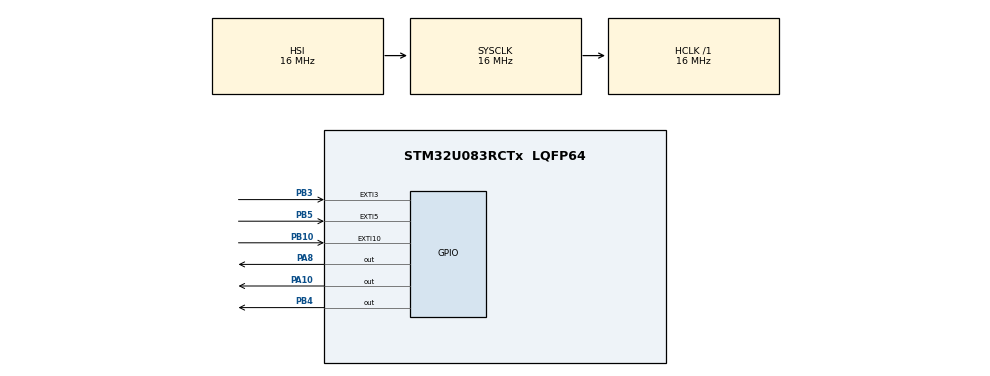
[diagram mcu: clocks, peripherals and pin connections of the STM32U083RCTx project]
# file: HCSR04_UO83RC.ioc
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Mcu.Family=STM32U0
Mcu.Name=STM32U083RCTx
Mcu.Package=LQFP64
NUCLEO-U083RC.BUTTON=1
NUCLEO-U083RC.Bsp_Common_DEMO=true
NUCLEO-U083RC.LD4=true
NUCLEO-U083RC.VCP=true
NVIC.EXTI2_3_IRQn=true\:1\:0\:true\:false\:true\:true\:true\:true
NVIC.EXTI4_15_IRQn=true\:1\:0\:true\:false\:true\:false\:true\:true
NVIC.PriorityGroup=NVIC_PRIORITYGROUP_2
PA10.Signal=GPIO_Output
PA13\ (SWDIO).GPIO_Label=SWDIO
PA13\ (SWDIO).Signal=DEBUG_JTMS-SWDIO
PA14\ (SWCLK).GPIO_Label=SWCLK
PA14\ (SWCLK).Signal=DEBUG_JTCK-SWCLK
PA2.Signal=USART2_TX
PA3.Signal=USART2_RX
PA8.Signal=GPIO_Output
PB10.GPIO_ModeDefaultEXTI=GPIO_MODE_IT_RISING_FALLING
PB10.Signal=GPXTI10
PB3.GPIO_ModeDefaultEXTI=GPIO_MODE_IT_RISING_FALLING
PB3.Signal=GPXTI3
PB4.Signal=GPIO_Output
PB5.GPIO_ModeDefaultEXTI=GPIO_MODE_IT_RISING_FALLING
PB5.Signal=GPXTI5
PC14-OSC32_IN.GPIO_Label=OSC32_IN
PC14-OSC32_IN.Signal=RCC_OSC32_IN
PC15-OSC32_OUT.GPIO_Label=OSC32_OUT
PC15-OSC32_OUT.Signal=RCC_OSC32_OUT
PF0-OSC_IN.GPIO_Label=OSC_IN
PF0-OSC_IN.Signal=RCC_OSC_IN
PF1-OSC_OUT.GPIO_Label=OSC_OUT
PF1-OSC_OUT.Signal=RCC_OSC_OUT
ProjectManager.HeapSize=0x200
ProjectManager.StackSize=0x400
ProjectManager.TargetToolchain=CMake
RCC.AHBFreq_Value=16000000
RCC.CortexFreq_Value=16000000
RCC.HCLKFreq_Value=16000000
RCC.HSE_VALUE=4000000
RCC.HSI48_VALUE=48000000
RCC.HSI_VALUE=16000000
RCC.LSE_VALUE=32768
RCC.MSI_VALUE=4000000
RCC.SYSCLKFreq_VALUE=16000000
RCC.VCOOutputFreq_Value=64000000
VP_NUCLEO-U083RC_VS_BSP_COMMON.Mode=COMMON
VP_PWR_VS_SECSignals.Mode=Security/Privilege
VP_TIM3_VS_ClockSourceINT.Mode=Internal
board=NUCLEO-U083RC

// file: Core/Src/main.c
/* USER CODE BEGIN Header */
/*******************************************************************************
 * @file       main.c
 * @author     Fardeen
 * @brief      Application entry point and sensor reporting loop.
 * @details    Initializes system peripherals, runs sequential ultrasonic
 *             measurements for three sensors, and reports formatted distances
 *             over the virtual COM interface.
 * @version    1.0.0
 * @date       2026-04-15
 *
 * @copyright  Copyright (c) Fardeen. All rights reserved.
 *******************************************************************************/

/* USER CODE END Header */
#include "main.h"

/* USER CODE BEGIN Includes */
#include <stdio.h>
#include "ultrasonic.h"
/* USER CODE END Includes */

/* USER CODE BEGIN PD */
#define ULTRASONIC_ACOUSTIC_DELAY_MS        (60U)
#define ULTRASONIC_BLOCKING_TIMEOUT_US      (65000U)
#define ULTRASONIC_DISTANCE_STRING_SIZE     (8U)
#define ULTRASONIC_TENTH_MULTIPLIER         (10.0F)
#define ULTRASONIC_TENTH_MAX_DIGIT          (9U)
/* USER CODE END PD */

COM_InitTypeDef BspCOMInit;
__IO uint32_t BspButtonState = BUTTON_RELEASED;

/* Shared with the ultrasonic module and ISR-safe code paths. */
TIM_HandleTypeDef htim3;

void SystemClock_Config(void);
static void MX_GPIO_Init(void);
static void MX_TIM3_Init(void);

/* USER CODE BEGIN 0 */
/**
  * @brief  Converts a millimeter measurement into a printable string.
  * @param  distance   Measurement in millimeters.
  * @param  buffer     Destination buffer for the formatted string.
  * @param  bufferSize Size of the destination buffer.
  * @retval None
  */
static void format_distance_string(float distance, char *buffer, size_t bufferSize)
{
  uint32_t whole_mm = (uint32_t)distance;
  float fractional = distance - (float)whole_mm;

  if (bufferSize == 0U)
  {
    return;
  }

  if (distance >= ULTRASONIC_ERROR_DISTANCE_MM)
  {
    if (bufferSize > 3U)
    {
      buffer[0] = 'O';
      buffer[1] = 'O';
      buffer[2] = 'R';
      buffer[3] = '\0';
    }
    else
    {
      buffer[0] = '\0';
    }

    return;
  }

  if (fractional < 0.0F)
  {
    fractional = 0.0F;
  }

  uint32_t tenth = (uint32_t)(fractional * ULTRASONIC_TENTH_MULTIPLIER);
  if (tenth > ULTRASONIC_TENTH_MAX_DIGIT)
  {
    tenth = ULTRASONIC_TENTH_MAX_DIGIT;
  }

(void)snprintf(buffer, bufferSize, "%lu.%01lu", (unsigned long)whole_mm, (unsigned long)tenth);
}

static float captured_distances[ULTRASONIC_SENSOR_COUNT] = {
  ULTRASONIC_ERROR_DISTANCE_MM,
  ULTRASONIC_ERROR_DISTANCE_MM,
  ULTRASONIC_ERROR_DISTANCE_MM
};

/* USER CODE END 0 */

int main(void)
{

  /* MCU Configuration--------------------------------------------------------*/

  /* Reset of all peripherals, Initializes the Flash interface and the Systick. */
  HAL_Init();

  /* Configure the system clock */
  SystemClock_Config();

  /* Initialize all configured peripherals */
  MX_GPIO_Init();
  MX_TIM3_Init();
  /* USER CODE BEGIN 2 */
  Ultrasonic_Init();

  /* USER CODE END 2 */

  /* Initialize leds */
  BSP_LED_Init(LED_GREEN);

  /* Initialize USER push-button, will be used to trigger an interrupt each time it's pressed.*/
  BSP_PB_Init(BUTTON_USER, BUTTON_MODE_EXTI);

  /* Initialize COM1 port (115200, 8 bits (7-bit data + 1 stop bit), no parity */
  BspCOMInit.BaudRate   = 115200;
  BspCOMInit.WordLength = COM_WORDLENGTH_8B;
  BspCOMInit.StopBits   = COM_STOPBITS_1;
  BspCOMInit.Parity     = COM_PARITY_NONE;
  BspCOMInit.HwFlowCtl  = COM_HWCONTROL_NONE;
  if (BSP_COM_Init(COM1, &BspCOMInit) != BSP_ERROR_NONE)
  {
    Error_Handler();
  }

  /* USER CODE BEGIN BSP */

  /* -- Sample board code to switch on leds ---- */
  BSP_LED_On(LED_GREEN);

  /* USER CODE END BSP */

  /* Infinite loop */
  /* USER CODE BEGIN WHILE */
  while (1)
  {
    captured_distances[0] = Ultrasonic_MeasureBlocking(ULTRASONIC_SENSOR_1, ULTRASONIC_BLOCKING_TIMEOUT_US);
    HAL_Delay(ULTRASONIC_ACOUSTIC_DELAY_MS);
    captured_distances[1] = Ultrasonic_MeasureBlocking(ULTRASONIC_SENSOR_2, ULTRASONIC_BLOCKING_TIMEOUT_US);
    HAL_Delay(ULTRASONIC_ACOUSTIC_DELAY_MS);
    captured_distances[2] = Ultrasonic_MeasureBlocking(ULTRASONIC_SENSOR_3, ULTRASONIC_BLOCKING_TIMEOUT_US);

    {
      char sensor_strings[ULTRASONIC_SENSOR_COUNT][ULTRASONIC_DISTANCE_STRING_SIZE];
      for (uint32_t index = 0U; index < ULTRASONIC_SENSOR_COUNT; index++)
      {
        format_distance_string(captured_distances[index], sensor_strings[index], sizeof(sensor_strings[index]));
      }
      printf("S1=%s mm, S2=%s mm, S3=%s mm\n\r", sensor_strings[0], sensor_strings[1], sensor_strings[2]);
    }

    /* -- Sample board code for User push-button in interrupt mode ---- */
    if (BspButtonState == BUTTON_PRESSED)
    {
      /* Update button state */
      BspButtonState = BUTTON_RELEASED;
      /* -- Sample board code to toggle led ---- */
      BSP_LED_Toggle(LED_GREEN);
    }

    /* USER CODE END WHILE */

  }
}

void SystemClock_Config(void)
{
  RCC_OscInitTypeDef RCC_OscInitStruct = {0};
  RCC_ClkInitTypeDef RCC_ClkInitStruct = {0};

  /** Configure the main internal regulator output voltage
  */
  HAL_PWREx_ControlVoltageScaling(PWR_REGULATOR_VOLTAGE_SCALE2);

  /** Initializes the RCC Oscillators according to the specified parameters
  * in the RCC_OscInitTypeDef structure.
  */
  RCC_OscInitStruct.OscillatorType = RCC_OSCILLATORTYPE_HSI;
  RCC_OscInitStruct.HSIState = RCC_HSI_ON;
  RCC_OscInitStruct.HSICalibrationValue = RCC_HSICALIBRATION_DEFAULT;
  RCC_OscInitStruct.PLL.PLLState = RCC_PLL_NONE;
  if (HAL_RCC_OscConfig(&RCC_OscInitStruct) != HAL_OK)
  {
    Error_Handler();
  }

  /** Initializes the CPU, AHB and APB buses clocks
  */
  RCC_ClkInitStruct.ClockType = RCC_CLOCKTYPE_HCLK|RCC_CLOCKTYPE_SYSCLK
                              |RCC_CLOCKTYPE_PCLK1;
  RCC_ClkInitStruct.SYSCLKSource = RCC_SYSCLKSOURCE_HSI;
  RCC_ClkInitStruct.AHBCLKDivider = RCC_SYSCLK_DIV1;
  RCC_ClkInitStruct.APB1CLKDivider = RCC_HCLK_DIV1;

  if (HAL_RCC_ClockConfig(&RCC_ClkInitStruct, FLASH_LATENCY_1) != HAL_OK)
  {
    Error_Handler();
  }
}

static void MX_TIM3_Init(void)
{

  TIM_ClockConfigTypeDef sClockSourceConfig = {0};
  TIM_MasterConfigTypeDef sMasterConfig = {0};

  htim3.Instance = TIM3;
  htim3.Init.Prescaler = 0;
  htim3.Init.CounterMode = TIM_COUNTERMODE_UP;
  htim3.Init.Period = 65535;
  htim3.Init.ClockDivision = TIM_CLOCKDIVISION_DIV1;
  htim3.Init.AutoReloadPreload = TIM_AUTORELOAD_PRELOAD_DISABLE;
  if (HAL_TIM_Base_Init(&htim3) != HAL_OK)
  {
    Error_Handler();
  }
  sClockSourceConfig.ClockSource = TIM_CLOCKSOURCE_INTERNAL;
  if (HAL_TIM_ConfigClockSource(&htim3, &sClockSourceConfig) != HAL_OK)
  {
    Error_Handler();
  }
  sMasterConfig.MasterOutputTrigger = TIM_TRGO_RESET;
  sMasterConfig.MasterSlaveMode = TIM_MASTERSLAVEMODE_DISABLE;
  if (HAL_TIMEx_MasterConfigSynchronization(&htim3, &sMasterConfig) != HAL_OK)
  {
    Error_Handler();
  }
  /* USER CODE BEGIN TIM3_Init 2 */

  /* 1. Sync the global clock variable with the hardware */
  SystemCoreClockUpdate();

  /* 2. Overwrite the 0 prescaler CubeMX generated with our 1MHz dynamic math */
  __HAL_TIM_SET_PRESCALER(&htim3, ((SystemCoreClock + 500000U) / 1000000U) - 1U);

  /* 3. Force the timer to apply the new prescaler immediately */
  htim3.Instance->EGR = TIM_EGR_UG;

  /* USER CODE END TIM3_Init 2 */

}

static void MX_GPIO_Init(void)
{
  GPIO_InitTypeDef GPIO_InitStruct = {0};

  /* GPIO Ports Clock Enable */
  __HAL_RCC_GPIOC_CLK_ENABLE();
  __HAL_RCC_GPIOF_CLK_ENABLE();
  __HAL_RCC_GPIOB_CLK_ENABLE();
  __HAL_RCC_GPIOA_CLK_ENABLE();

  /*Configure GPIO pin Output Level */
  HAL_GPIO_WritePin(GPIOA, GPIO_PIN_8|GPIO_PIN_10, GPIO_PIN_RESET);

  /*Configure GPIO pin Output Level */
  HAL_GPIO_WritePin(GPIOB, GPIO_PIN_4, GPIO_PIN_RESET);

  /*Configure GPIO pins : PB10 PB3 PB5 */
  GPIO_InitStruct.Pin = GPIO_PIN_10|GPIO_PIN_3|GPIO_PIN_5;
  GPIO_InitStruct.Mode = GPIO_MODE_IT_RISING_FALLING;
  GPIO_InitStruct.Pull = GPIO_NOPULL;
  HAL_GPIO_Init(GPIOB, &GPIO_InitStruct);

  /*Configure GPIO pins : PA8 PA10 */
  GPIO_InitStruct.Pin = GPIO_PIN_8|GPIO_PIN_10;
  GPIO_InitStruct.Mode = GPIO_MODE_OUTPUT_PP;
  GPIO_InitStruct.Pull = GPIO_NOPULL;
  GPIO_InitStruct.Speed = GPIO_SPEED_FREQ_LOW;
  HAL_GPIO_Init(GPIOA, &GPIO_InitStruct);

  /*Configure GPIO pin : PB4 */
  GPIO_InitStruct.Pin = GPIO_PIN_4;
  GPIO_InitStruct.Mode = GPIO_MODE_OUTPUT_PP;
  GPIO_InitStruct.Pull = GPIO_NOPULL;
  GPIO_InitStruct.Speed = GPIO_SPEED_FREQ_LOW;
  HAL_GPIO_Init(GPIOB, &GPIO_InitStruct);

  /* EXTI interrupt init*/
  HAL_NVIC_SetPriority(EXTI2_3_IRQn, 1, 0);
  HAL_NVIC_EnableIRQ(EXTI2_3_IRQn);

  HAL_NVIC_SetPriority(EXTI4_15_IRQn, 1, 0);
  HAL_NVIC_EnableIRQ(EXTI4_15_IRQn);

}

/* USER CODE BEGIN 4 */
/**
  * @brief  Retargets printf output to the BSP virtual COM port.
  * @param  file Unused file descriptor value.
  * @param  ptr  Data buffer to transmit.
  * @param  len  Number of bytes to transmit.
  * @retval Number of bytes sent or -1 on failure.
  */
int _write(int file, char *ptr, int len)
{
  (void)file;
  if (HAL_UART_Transmit(&hcom_uart[COM1], (uint8_t *)ptr, (uint16_t)len, COM_POLL_TIMEOUT) != HAL_OK)
  {
    return -1;
  }
  return len;
}
/* USER CODE END 4 */

/**
  * @brief  BSP Push Button callback
  * @param  Button Specifies the pressed button
  * @retval None
  */
void BSP_PB_Callback(Button_TypeDef Button)
{
  if (Button == BUTTON_USER)
  {
    BspButtonState = BUTTON_PRESSED;
  }
}

void Error_Handler(void)
{
  __disable_irq();
  while (1)
  {
  }
}
